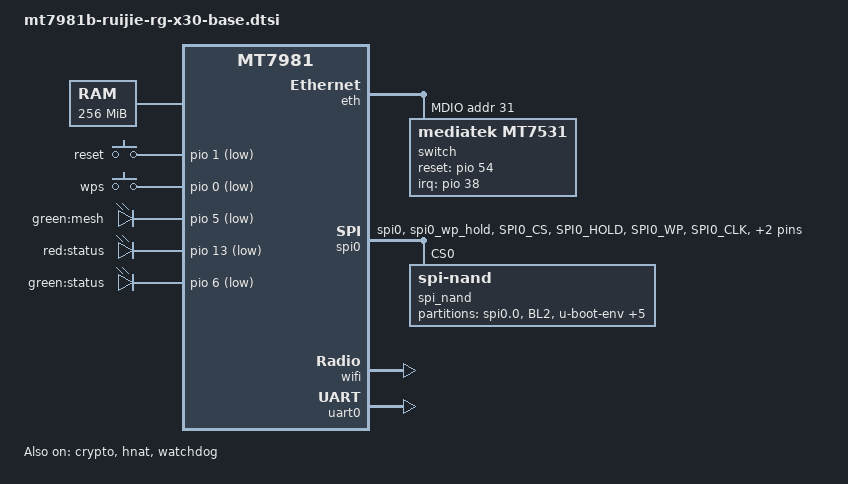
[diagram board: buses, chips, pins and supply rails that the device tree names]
// SPDX-License-Identifier: GPL-2.0-or-later OR MIT

/dts-v1/;
#include <dt-bindings/gpio/gpio.h>
#include <dt-bindings/input/input.h>

#include "mt7981.dtsi"

/ {
	aliases {
		led-boot = &sysled_red;
		led-failsafe = &sysled_red;
		led-running = &sysled_green;
		led-upgrade = &sysled_red;
	};

	memory {
		reg = <0 0x40000000 0 0x10000000>;
	};

	chosen {
		bootargs = "console=ttyS0,115200n1 loglevel=8 earlycon=uart8250,mmio32,0x11002000";
	};

	gpio-keys {
		compatible = "gpio-keys";

		button-reset {
			label = "reset";
			linux,code = <KEY_RESTART>;
			gpios = <&pio 1 GPIO_ACTIVE_LOW>;
		};

		button-wps {
			label = "wps";
			linux,code = <KEY_WPS_BUTTON>;
			gpios = <&pio 0 GPIO_ACTIVE_LOW>;
		};
	};

	leds-gpio {
		compatible = "gpio-leds";

		mesh_led: led-0 {
			label = "green:mesh";
			gpios = <&pio 5 GPIO_ACTIVE_LOW>;
		};

		sysled_red: led-1 {
			label = "red:status";
			gpios = <&pio 13 GPIO_ACTIVE_LOW>;
		};

		sysled_green: led-2 {
			label = "green:status";
			gpios = <&pio 6 GPIO_ACTIVE_LOW>;
		};
	};
};

&crypto {
	status = "okay";
};

&eth {
	status = "okay";

	gmac0: mac@0 {
		compatible = "mediatek,eth-mac";
		reg = <0>;
		phy-mode = "2500base-x";
		fixed-link {
			speed = <2500>;
			full-duplex;
			pause;
		};
	};

	gmac1: mac@1 {
		compatible = "mediatek,eth-mac";
		reg = <1>;
		phy-mode = "2500base-x";
		fixed-link {
			speed = <2500>;
			full-duplex;
			pause;
		};
	};

	mdio: mdio-bus {
		#address-cells = <1>;
		#size-cells = <0>;
	};
};

&mdio {
	switch: switch@1f {
		compatible = "mediatek,mt7531";
		reg = <31>;
		reset-gpios = <&pio 54 GPIO_ACTIVE_HIGH>;
		interrupt-controller;
		#interrupt-cells = <1>;
		interrupt-parent = <&pio>;
		interrupts = <38 IRQ_TYPE_LEVEL_HIGH>;
	};
};

&hnat {
	mtketh-wan = "wan";
	mtketh-lan = "lan";
	mtketh-max-gmac = <1>;
	status = "okay";
};

&spi0 {
	pinctrl-names = "default";
	pinctrl-0 = <&spi0_flash_pins>;
	status = "okay";

	spi_nand: flash@0 {
		#address-cells = <1>;
		#size-cells = <1>;
		compatible = "spi-nand";
		reg = <0>;
		spi-cal-enable;
		spi-cal-mode = "read-data";
		spi-cal-datalen = <7>;
		spi-cal-data = /bits/ 8 <0x53 0x50 0x49 0x4E 0x41 0x4E 0x44>;
		spi-cal-addrlen = <5>;
		spi-cal-addr = /bits/ 32 <0x0 0x0 0x0 0x0 0x0>;
		mediatek,nmbm;
		mediatek,bmt-max-ratio = <1>;
		mediatek,bmt-max-reserved-blocks = <64>;

		partitions: partitions {
			compatible = "fixed-partitions";
			#address-cells = <1>;
			#size-cells = <1>;

			partition@0_all {
				label = "spi0.0";
				reg = <0x0 0x8000000>;
				read-only;
			};
			partition@0 { label = "BL2"; reg = <0x00 0x100000>; };
			partition@100000 { label = "u-boot-env"; reg = <0x100000 0x80000>; };
			partition@180000 {
				label = "Factory";
				reg = <0x180000 0x200000>;
				nvmem-layout {
					compatible = "fixed-layout";
					#address-cells = <1>;
					#size-cells = <1>;
					eeprom_factory_0: eeprom@0 { reg = <0x0 0x1000>; };
				};
			};
			partition@380000 { label = "FIP"; reg = <0x380000 0x200000>; };
			partition@580000 { label = "FIP2"; reg = <0x580000 0x200000>; };
			partition@780000 { label = "product_info"; reg = <0x780000 0x80000>; };
			partition@800000 { label = "kdump"; reg = <0x800000 0x80000>; };
		};
	};
};

&pio {
	spi0_flash_pins: spi0-pins {
		mux {
			function = "spi";
			groups = "spi0", "spi0_wp_hold";
		};
		conf-pu {
			pins = "SPI0_CS", "SPI0_HOLD", "SPI0_WP";
			drive-strength = <8>;
			bias-pull-up = <0>;
		};
		conf-pd {
			pins = "SPI0_CLK", "SPI0_MOSI", "SPI0_MISO";
			drive-strength = <8>;
			bias-pull-down = <0>;
		};
	};
};

&wifi {
	status = "okay";
	nvmem-cells = <&eeprom_factory_0>;
	nvmem-cell-names = "eeprom";
};

&uart0 { status = "okay"; };
&watchdog { status = "okay"; };
